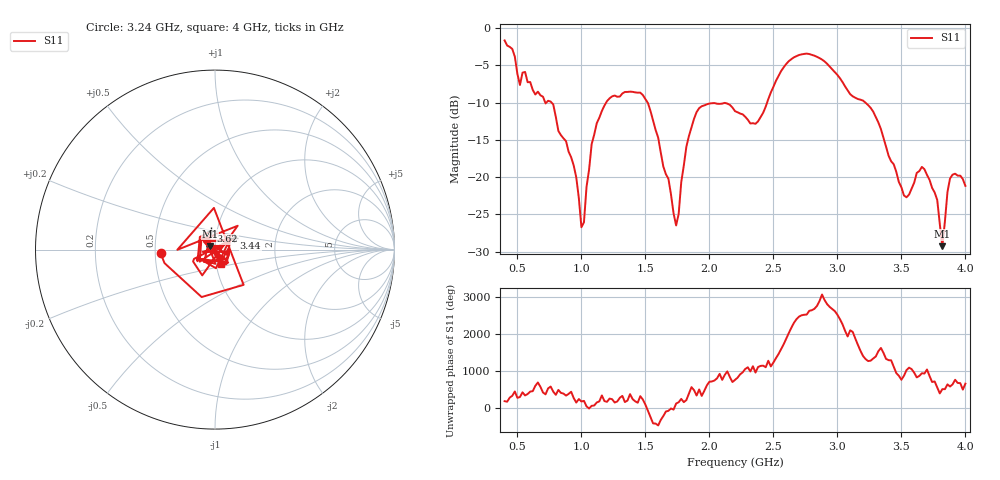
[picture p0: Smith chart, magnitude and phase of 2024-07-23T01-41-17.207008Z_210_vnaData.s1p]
!Created with skrf (http://scikit-rf.org).
# Hz S RI R 50.0
!freq ReS11 ImS11
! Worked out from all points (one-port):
!   181 points, 400 MHz to 4 GHz, reference 50 ohm
!   lowest |S11| = -29.3 dB at 3.82 GHz (marker M1), VSWR 1.07, Z = 47.3 + j1.97 ohm
!   |S11| at or under -10 dB: 766.6 MHz to 1.193 GHz (426.8 MHz wide, 43.6 % of centre); 1.517 GHz to 2.451 GHz (933.6 MHz wide, 47.1 % of centre); 3.218 GHz to end of sweep (the widest 3 of 4)
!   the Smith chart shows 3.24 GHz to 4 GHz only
!   S11 on the Smith chart (normalised r, x): 3.24 GHz: 0.53, -0.02; 3.44 GHz: 1.22, +0.16; 3.62 GHz: 0.94, +0.20; 4 GHz: 1.05, -0.17
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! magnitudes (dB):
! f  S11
! 400 MHz  -1.7
! 460 MHz  -2.8
! 520 MHz  -7.6
! 560 MHz  -5.9
! 780 MHz  -10.3
! 860 MHz  -14.8
! 960 MHz  -20.1
! 1 GHz  -26.7
! 1.12 GHz  -12.8
! 1.3 GHz  -9.2
! 1.52 GHz  -10.1
! 1.74 GHz  -26.5
! 1.76 GHz  -24.9
! 1.82 GHz  -15.9
! 1.9 GHz  -11.3
! 2.2 GHz  -11.2
! 2.36 GHz  -12.9
! 2.66 GHz  -3.9
! 2.88 GHz  -4.2
! 3.1 GHz  -8.9
! 3.24 GHz  -10.3
! 3.44 GHz  -18.3
! 3.56 GHz  -22.3
! 3.62 GHz  -19.4
! 3.76 GHz  -22.1
! 3.82 GHz  -29.3
! 3.88 GHz  -20.2
! 4 GHz  -21.2
